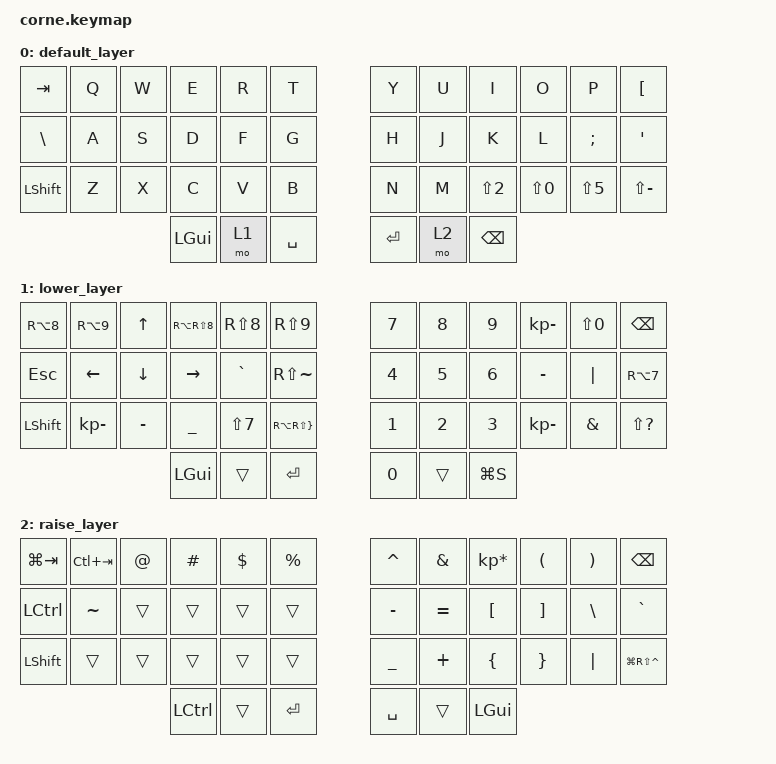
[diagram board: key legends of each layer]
/*
 * Copyright (c) 2020 The ZMK Contributors
 *
 * SPDX-License-Identifier: MIT
 */

#include <behaviors.dtsi>
#include <dt-bindings/zmk/keys.h>
#include <dt-bindings/zmk/keys.h>

/ {
    combos {
        compatible = "zmk,combos";

        Spotlight {
            bindings = <&kp LG(SPACE)>;
            key-positions = <30 31>;
        };

        Backspace {
            bindings = <&kp BACKSPACE>;
            key-positions = <7 8>;
        };

        copilot {
            bindings = <&kp LA(TAB)>;
            key-positions = <10 11>;
        };

        Exit_server {
            bindings = <&kp LC(C)>;
            key-positions = <1 2>;
        };

        Caps {
            bindings = <&kt CLCK>;
            key-positions = <24 25>;
        };

        Enter {
            bindings = <&kp RET>;
            key-positions = <19 20 21 22>;
        };

        punktum {
            bindings = <&kp DOT>;
            key-positions = <19 20>;
        };

        Comma {
            bindings = <&kp COMMA>;
            key-positions = <31 32>;
        };

        screenshot {
            bindings = <&kp LG(LS(NUMBER_4))>;
            key-positions = <24 25 26>;
        };

        Thirds {
            bindings = <&kp LA(LS(D))>;
            key-positions = <33 34 35>;
        };

        left_half {
            bindings = <&kp LA(LG(LEFT_ARROW))>;
            key-positions = <32 33>;
        };

        right_half {
            bindings = <&kp LG(LA(RIGHT))>;
            key-positions = <35 34>;
        };

        underscore {
            bindings = <&kp QUESTION>;
            key-positions = <18 19 20>;
        };
    };

    keymap {
        compatible = "zmk,keymap";

        default_layer {
            // -----------------------------------------------------------------------------------------
            // |  TAB |  Q  |  W  |  E  |  R  |  T  |   |  Y  |  U   |  I  |  O  |  P  | Å |
            // | CTRL |  A  |  S  |  D  |  F  |  G  |   |  H  |  J   |  K  |  L  |  Ø  |  Æ  |
            // | SHFT |  Z  |  X  |  C  |  V  |  B  |   |  N  |  M   |  UP  |  DWN  |  LFT  | RGT  |
            //                    | GUI | LWR | ENT |   | SPC | RSE  | @ |

            bindings = <
&kp TAB        &kp Q  &kp W  &kp E     &kp R  &kp T        &kp Y    &kp U  &kp I             &kp O       &kp P       &kp LEFT_BRACKET
&kp BACKSLASH  &kp A  &kp S  &kp D     &kp F  &kp G        &kp H    &kp J  &kp K             &kp L       &kp SEMI    &kp SQT
&kp LSHFT      &kp Z  &kp X  &kp C     &kp V  &kp B        &kp N    &kp M  &kp LS(NUMBER_2)  &kp LS(N0)  &kp LS(N5)  &kp LS(MINUS)
                             &kp LGUI  &mo 1  &kp SPACE    &kp RET  &mo 2  &kp BACKSPACE
            >;
        };

        lower_layer {
            // -----------------------------------------------------------------------------------------
            // |  TAB |  1  |  2  |  3  |  4  |  5  |   |  6  |  7  |  8  |  9  |  0  | BKSP |
            // | BTCLR| BT1 | BT2 | BT3 | BT4 | BT5 |   | LFT | DWN |  UP | RGT |     |      |
            // | SHFT |     |     |     |     |     |   |     |     |     |     |     |      |
            //                    | GUI |     | SPC |   | ENT |     | ALT |

            bindings = <
&kp RA(N8)  &kp RA(N9)    &kp UP_ARROW  &kp RA(RS(N8))  &kp RS(N8)  &kp RS(N9)                 &kp N7        &kp N8        &kp N9        &kp KP_MINUS  &kp LS(N0)     &kp BSPC
&kp ESCAPE  &kp LEFT      &kp DOWN      &kp RIGHT       &kp GRAVE   &kp RS(TILDE)              &kp NUMBER_4  &kp N5        &kp NUMBER_6  &kp MINUS     &kp PIPE       &kp RA(N7)
&kp LSHFT   &kp KP_MINUS  &kp MINUS     &kp UNDERSCORE  &kp LS(N7)  &kp RA(RS(RIGHT_BRACE))    &kp N1        &kp NUMBER_2  &kp NUMBER_3  &kp KP_MINUS  &kp AMPERSAND  &kp LS(QUESTION)
                                        &kp LGUI        &trans      &kp RET                    &kp N0        &trans        &kp LG(S)
            >;
        };

        raise_layer {
            // -----------------------------------------------------------------------------------------
            // |  TAB |  !  |  @  |  #  |  $  |  %  |   |  ^  |  &  |  *  |  (  |  )  | BKSP |
            // | CTRL |     |     |     |     |     |   |  -  |  =  |  [  |  ]  |  \  |  `   |
            // | SHFT |     |     |     |     |     |   |  _  |  +  |  {  |  }  | "|" |  ~   |
            //                    | GUI |     | SPC |   | ENT |     | ALT |

            bindings = <
&kp LG(TAB)  &kp LC(TAB)  &kp AT  &kp HASH          &kp DLLR  &kp PRCNT    &kp CARET  &kp AMPS   &kp KP_MULTIPLY  &kp LPAR  &kp RPAR  &kp BSPC
&kp LCTRL    &kp TILDE    &trans  &trans            &trans    &trans       &kp MINUS  &kp EQUAL  &kp LBKT         &kp RBKT  &kp BSLH  &kp GRAVE
&kp LSHFT    &trans       &trans  &trans            &trans    &trans       &kp UNDER  &kp PLUS   &kp LBRC         &kp RBRC  &kp PIPE  &kp LG(RS(CARET))
                                  &kp LEFT_CONTROL  &trans    &kp RET      &kp SPACE  &trans     &kp LGUI
            >;
        };
    };
};
